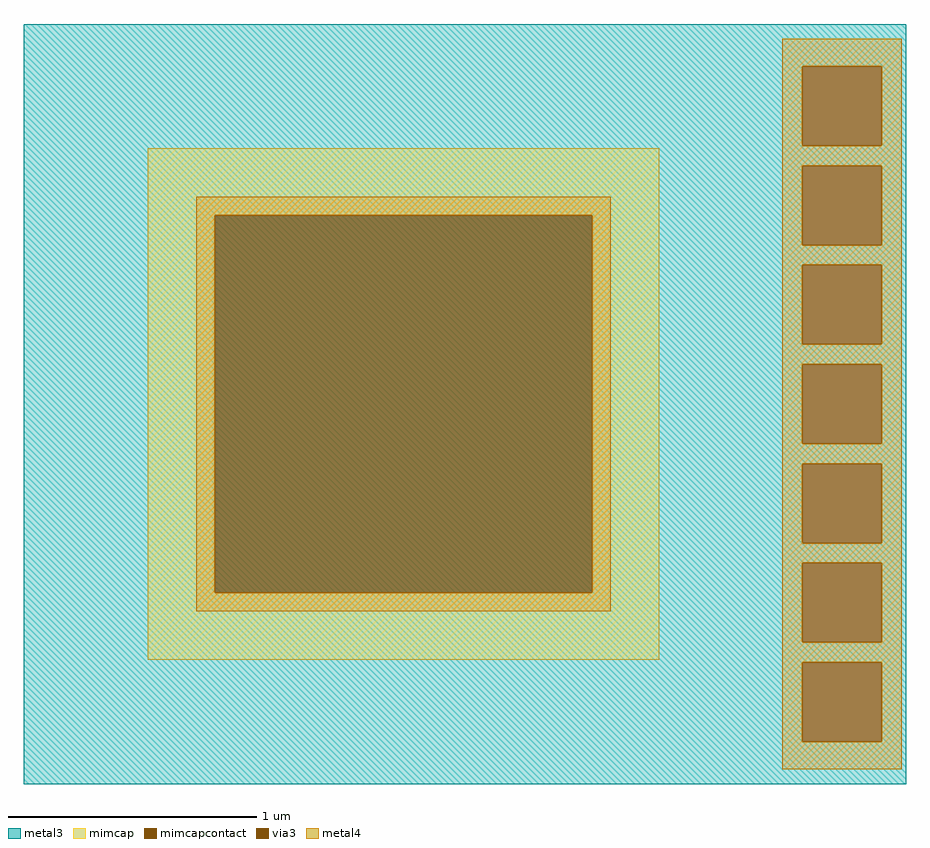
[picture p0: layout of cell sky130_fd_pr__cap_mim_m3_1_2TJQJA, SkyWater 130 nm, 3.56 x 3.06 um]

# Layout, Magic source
magic
tech sky130A
magscale 1 2
<< metal3 >>
rect -356 272 355 306
rect -356 208 271 272
rect 335 208 355 272
rect -356 192 355 208
rect -356 128 271 192
rect 335 128 355 192
rect -356 112 355 128
rect -356 48 271 112
rect 335 48 355 112
rect -356 32 355 48
rect -356 -32 271 32
rect 335 -32 355 32
rect -356 -48 355 -32
rect -356 -112 271 -48
rect 335 -112 355 -48
rect -356 -128 355 -112
rect -356 -192 271 -128
rect 335 -192 355 -128
rect -356 -208 355 -192
rect -356 -272 271 -208
rect 335 -272 355 -208
rect -356 -306 355 -272
<< via3 >>
rect 271 208 335 272
rect 271 128 335 192
rect 271 48 335 112
rect 271 -32 335 32
rect 271 -112 335 -48
rect 271 -192 335 -128
rect 271 -272 335 -208
<< mimcap >>
rect -256 152 156 206
rect -256 -152 -202 152
rect 102 -152 156 152
rect -256 -206 156 -152
<< mimcapcontact >>
rect -202 -152 102 152
<< metal4 >>
rect 255 272 351 294
rect 255 208 271 272
rect 335 208 351 272
rect 255 192 351 208
rect -217 152 117 167
rect -217 -152 -202 152
rect 102 -152 117 152
rect -217 -167 117 -152
rect 255 128 271 192
rect 335 128 351 192
rect 255 112 351 128
rect 255 48 271 112
rect 335 48 351 112
rect 255 32 351 48
rect 255 -32 271 32
rect 335 -32 351 32
rect 255 -48 351 -32
rect 255 -112 271 -48
rect 335 -112 351 -48
rect 255 -128 351 -112
rect 255 -192 271 -128
rect 335 -192 351 -128
rect 255 -208 351 -192
rect 255 -272 271 -208
rect 335 -272 351 -208
rect 255 -294 351 -272
<< properties >>
string FIXED_BBOX -356 -306 256 306
<< end >>
